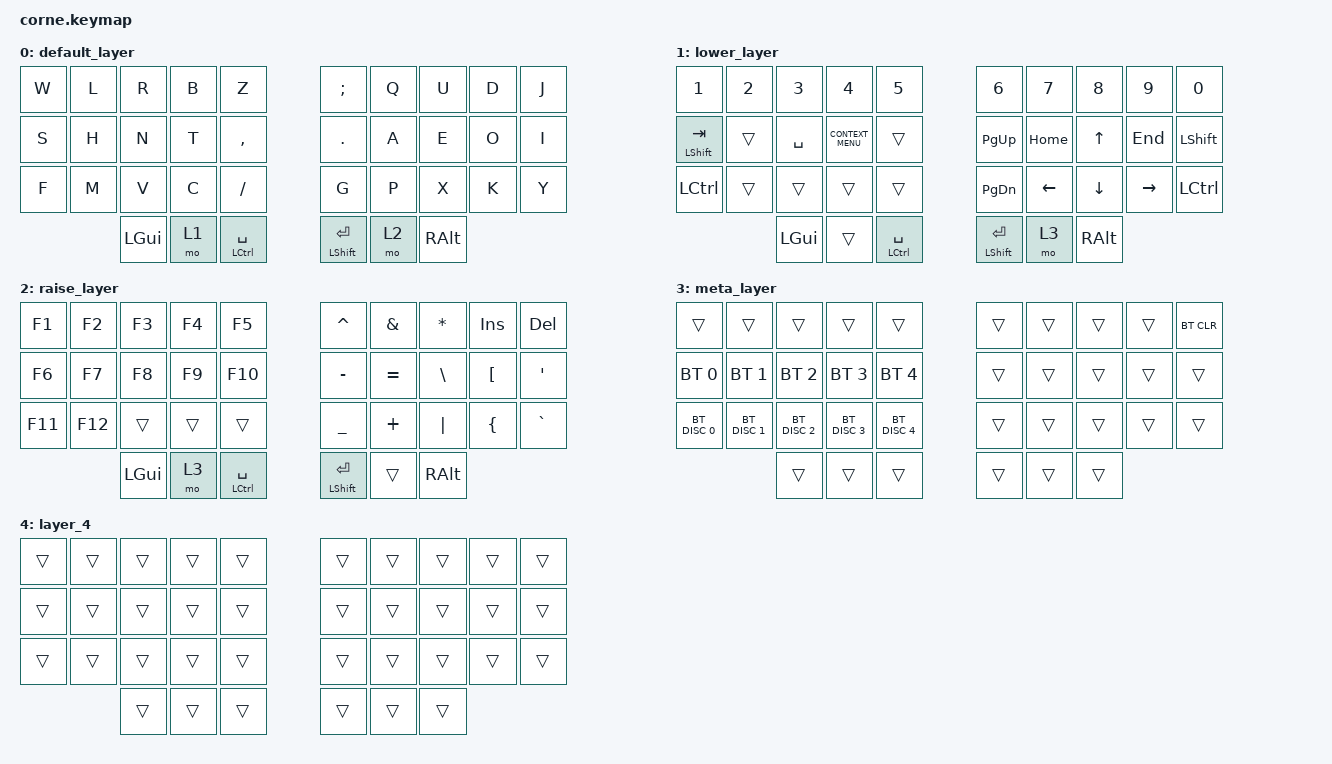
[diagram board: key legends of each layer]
/*
 * Copyright (c) 2020 The ZMK Contributors
 *
 * SPDX-License-Identifier: MIT
 */

#include <behaviors.dtsi>
#include <dt-bindings/zmk/bt.h>
#include <dt-bindings/zmk/keys.h>

/ {
    chosen { zmk,matrix_transform = &five_column_transform; };

    combos {
        compatible = "zmk,combos";

        Escape {
            bindings = <&kp ESCAPE>;
            key-positions = <0 1>;
        };

        Backspace {
            bindings = <&kp BACKSPACE>;
            key-positions = <8 9>;
        };

        SoftoffLeft {
            bindings = <&soft_off>;
            key-positions = <11 12 13 32>;
        };

        SoftoffRight {
            bindings = <&soft_off>;
            key-positions = <16 17 18 33>;
        };

        LeftBracket {
            bindings = <&kp LEFT_BRACKET>;
            key-positions = <23 24>;
        };

        LeftBrace {
            bindings = <&kp LEFT_BRACE>;
            key-positions = <3 4>;
        };

        LeftParenthesis {
            bindings = <&kp LEFT_PARENTHESIS>;
            key-positions = <13 14>;
        };

        RightBracket {
            bindings = <&kp RIGHT_BRACKET>;
            key-positions = <25 26>;
        };

        RightParenthesis {
            bindings = <&kp RIGHT_PARENTHESIS>;
            key-positions = <15 16>;
        };

        RightBrace {
            bindings = <&kp RIGHT_BRACE>;
            key-positions = <6 5>;
        };
    };

    keymap {
        compatible = "zmk,keymap";

        default_layer {
            // -----------------------------------------------------------------------------------------
            // |  Q  |  W  |  E  |  R  |  T  |   |  Y  |  U   |  I  |  O  |  P  |
            // |  A  |  S  |  D  |  F  |  G  |   |  H  |  J   |  K  |  L  |  ;  |
            // |  Z  |  X  |  C  |  V  |  B  |   |  N  |  M   |  ,  |  .  |  /  |
            //             | GUI | LWR | SPC |   | ENT | RSE  | ALT |

            bindings = <
  &kp W  &kp L  &kp R     &kp B  &kp Z              &kp SEMICOLON         &kp Q  &kp U     &kp D  &kp J
  &kp S  &kp H  &kp N     &kp T  &kp COMMA          &kp PERIOD            &kp A  &kp E     &kp O  &kp I
  &kp F  &kp M  &kp V     &kp C  &kp SLASH          &kp G                 &kp P  &kp X     &kp K  &kp Y
                &kp LGUI  &mo 1  &mt LCTRL SPACE    &mt LEFT_SHIFT ENTER  &mo 2  &kp RALT
            >;
        };

        lower_layer {
            // -----------------------------------------------------------------------------------------
            // |  1  |  2  |  3  |  4  |  5  |   |  6  |  7  |  8  |  9  |  0  |
            // | BT1 | BT2 | BT3 | BT4 | BT5 |   | LFT | DWN |  UP | RGT |     |
            // |     |     |     |     |     |   |     |     |     |     |     |
            //             | GUI |     | SPC |   | ENT |     | ALT |

            bindings = <
  &kp N1          &kp N2  &kp N3     &kp N4              &kp N5             &kp N6                &kp N7    &kp N8    &kp N9     &kp N0
  &mt LSHIFT TAB  &trans  &kp SPACE  &kp K_CONTEXT_MENU  &trans             &kp PAGE_UP           &kp HOME  &kp UP    &kp END    &kp LEFT_SHIFT
  &kp LCTRL       &trans  &trans     &trans              &trans             &kp PAGE_DOWN         &kp LEFT  &kp DOWN  &kp RIGHT  &kp LCTRL
                          &kp LGUI   &trans              &mt LCTRL SPACE    &mt LEFT_SHIFT ENTER  &mo 3     &kp RALT
            >;
        };

        raise_layer {
            // -----------------------------------------------------------------------------------------
            // |  !  |  @  |  #  |  $  |  %  |   |  ^  |  &  |  *  |  (  |  )  |
            // |     |     |     |     |     |   |  -  |  =  |  [  |  ]  |  \  |
            // |     |     |     |     |     |   |  _  |  +  |  {  |  }  | "|" |
            //             | GUI |     | SPC |   | ENT |     | ALT |

            bindings = <
  &kp F1   &kp F2   &kp F3    &kp F4  &kp F5             &kp CARET         &kp AMPS   &kp ASTRK      &kp INS           &kp DELETE
  &kp F6   &kp F7   &kp F8    &kp F9  &kp F10            &kp MINUS         &kp EQUAL  &kp BACKSLASH  &kp LEFT_BRACKET  &kp SINGLE_QUOTE
  &kp F11  &kp F12  &trans    &trans  &trans             &kp UNDER         &kp PLUS   &kp PIPE       &kp LEFT_BRACE    &kp GRAVE
                    &kp LGUI  &mo 3   &mt LCTRL SPACE    &mt LSHFT RETURN  &trans     &kp RALT
            >;
        };

        meta_layer {
            bindings = <
  &trans         &trans         &trans         &trans         &trans           &trans  &trans  &trans  &trans  &bt BT_CLR
  &bt BT_SEL 0   &bt BT_SEL 1   &bt BT_SEL 2   &bt BT_SEL 3   &bt BT_SEL 4     &trans  &trans  &trans  &trans  &trans
  &bt BT_DISC 0  &bt BT_DISC 1  &bt BT_DISC 2  &bt BT_DISC 3  &bt BT_DISC 4    &trans  &trans  &trans  &trans  &trans
                                &trans         &trans         &trans           &trans  &trans  &trans
            >;
        };

        layer_4 {
            bindings = <
  &trans  &trans  &trans  &trans  &trans    &trans  &trans  &trans  &trans  &trans
  &trans  &trans  &trans  &trans  &trans    &trans  &trans  &trans  &trans  &trans
  &trans  &trans  &trans  &trans  &trans    &trans  &trans  &trans  &trans  &trans
                  &trans  &trans  &trans    &trans  &trans  &trans
            >;
        };
    };
};
